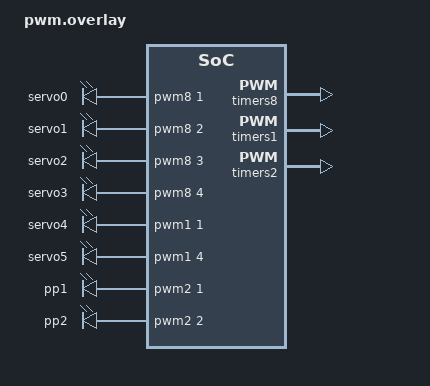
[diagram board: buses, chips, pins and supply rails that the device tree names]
/ {
	/* Struttura pwm-leds come progetto jonny5 funzionante */
	pwm_servos: pwm-servos {
		compatible = "pwm-leds";
		status = "okay";

		/* TIM8 @ 50 Hz → 20 ms = 20000000 ns (coerente con servo_get_period_hz TIM8) */
		servo0: servo0 {
			pwms = <&pwm8 1 20000000 PWM_POLARITY_NORMAL>; /* BASE = PC6 TIM8_CH1 */
		};

		servo1: servo1 {
			pwms = <&pwm8 2 20000000 PWM_POLARITY_NORMAL>; /* SPALLA = PC7 TIM8_CH2 */
		};

		servo2: servo2 {
			pwms = <&pwm8 3 20000000 PWM_POLARITY_NORMAL>; /* GOMITO = PC8 TIM8_CH3 */
		};

		servo3: servo3 {
			pwms = <&pwm8 4 20000000 PWM_POLARITY_NORMAL>; /* YAW = PC9 TIM8_CH4 */
		};

		/* TIM1 @ 50 Hz → 20 ms = 20000000 ns (HPS-0127 PITCH/ROLL; coerente con SERVO_PWM_HZ_TIM1) */
		servo4: servo4 {
			pwms = <&pwm1 1 20000000 PWM_POLARITY_NORMAL>; /* PITCH = PA8 TIM1_CH1 */
		};

		servo5: servo5 {
			pwms = <&pwm1 4 20000000 PWM_POLARITY_NORMAL>; /* ROLL = PA11 TIM1_CH4 */
		};
	};

	/* Pick & Place: 2 canali PWM per pilotare 2 IRFZ44N MOSFET (gate).
	 * PP1 (PA0, TIM2_CH1) → elettrovalvola.
	 * PP2 (PA1, TIM2_CH2) → coppia di vacuum motors.
	 * Frequenza 20 kHz (periodo 50000 ns) → sopra soglia udibile, comune ai 2 canali. */
	pwm_pickplace: pwm-pickplace {
		compatible = "pwm-leds";
		status = "okay";

		pp1: pp1 {
			pwms = <&pwm2 1 50000 PWM_POLARITY_NORMAL>; /* PA0 TIM2_CH1 */
		};

		pp2: pp2 {
			pwms = <&pwm2 2 50000 PWM_POLARITY_NORMAL>; /* PA1 TIM2_CH2 */
		};
	};

	aliases {
		pwm-servo0 = &servo0;
		pwm-servo1 = &servo1;
		pwm-servo2 = &servo2;
		pwm-servo3 = &servo3;
		pwm-servo4 = &servo4;
		pwm-servo5 = &servo5;
		pwm-pp1 = &pp1;
		pwm-pp2 = &pp2;
	};
};

/* Definizione manuale pinctrl per TIM8, TIM1 e TIM2 */
&pinctrl {
	tim8_ch1_pc6: tim8_ch1_pc6 { pinmux = <STM32_PINMUX('C', 6, AF3)>; };
	tim8_ch2_pc7: tim8_ch2_pc7 { pinmux = <STM32_PINMUX('C', 7, AF3)>; };
	tim8_ch3_pc8: tim8_ch3_pc8 { pinmux = <STM32_PINMUX('C', 8, AF3)>; };
	tim8_ch4_pc9: tim8_ch4_pc9 { pinmux = <STM32_PINMUX('C', 9, AF3)>; };

	/* PITCH su PA8 (TIM1_CH1, AF1) — advanced-control timer, boot predicibile.
	 * ROLL su PA11 (TIM1_CH4, AF1). */
	tim1_ch1_pa8: tim1_ch1_pa8 { pinmux = <STM32_PINMUX('A', 8, AF1)>; };
	tim1_ch4_pa11: tim1_ch4_pa11 { pinmux = <STM32_PINMUX('A', 11, AF1)>; };

	/* TIM2: PP1 (PA0, TIM2_CH1, AF1) e PP2 (PA1, TIM2_CH2, AF1) */
	tim2_ch1_pa0: tim2_ch1_pa0 { pinmux = <STM32_PINMUX('A', 0, AF1)>; };
	tim2_ch2_pa1: tim2_ch2_pa1 { pinmux = <STM32_PINMUX('A', 1, AF1)>; };
};

/* TIM8: BASE, SPALLA, GOMITO, YAW — PC6..PC9 (CH1..CH4). ROLL è su TIM1 (PA11). */
/* TIM8 non è nel DTS base STM32F4 per tutte le varianti: nodo sotto /soc/ */
&{/soc} {
	timers8: timers@40010400 {
		compatible = "st,stm32-timers";
		reg = <0x40010400 0x400>;
		clocks = <&rcc STM32_CLOCK(APB2, 1U)>;
		resets = <&rctl STM32_RESET(APB2, 1U)>;
		interrupts = <43 0>, <44 0>, <45 0>, <46 0>;
		interrupt-names = "brk", "up", "trgcom", "cc";
		st,prescaler = <83>;
		status = "okay";

		pwm8: pwm {
			compatible = "st,stm32-pwm";
			status = "okay";
			pinctrl-0 = <&tim8_ch1_pc6 &tim8_ch2_pc7 &tim8_ch3_pc8 &tim8_ch4_pc9>;
			pinctrl-names = "default";
			#pwm-cells = <3>;
		};
	};
};

/* TIM1: PITCH (PA8, TIM1_CH1) e ROLL (PA11, TIM1_CH4) — advanced-control timer */
&timers1 {
	status = "okay";
	st,prescaler = <83>;
	pwm1: pwm {
		status = "okay";
		pinctrl-0 = <&tim1_ch1_pa8 &tim1_ch4_pa11>;
		pinctrl-names = "default";
		#pwm-cells = <3>;
	};
};

/* TIM2: PP1 (PA0) e PP2 (PA1) per pick&place IRFZ44N gate drive.
 * Prescaler 0 → contatore alla freq. APB1 timer clock (84 MHz su F446RE).
 * Periodo 50000 ns = 20 kHz: 4200 cycles → fits 16-bit counter ampiamente. */
&timers2 {
	status = "okay";
	st,prescaler = <0>;
	pwm2: pwm {
		status = "okay";
		pinctrl-0 = <&tim2_ch1_pa0 &tim2_ch2_pa1>;
		pinctrl-names = "default";
		#pwm-cells = <3>;
	};
};
